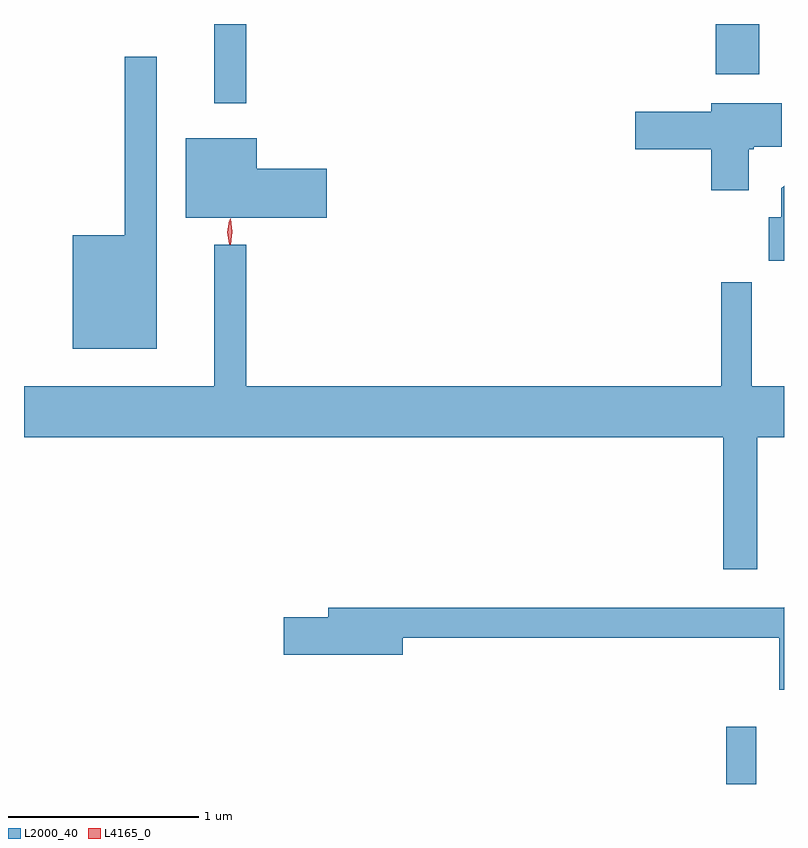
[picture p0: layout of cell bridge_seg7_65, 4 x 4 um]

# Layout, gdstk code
import gdstk
lib = gdstk.Library(unit=1e-6, precision=1e-09)
def R(c, l, rs):  # rectangles x0, y0, x1, y1
    for r in rs: c.add(gdstk.rectangle(r[:2], r[2:], *l))
def P(c, l, *ps):  # polygons
    for p in ps: c.add(gdstk.Polygon(p, *l))
L2000_40 = (2000, 40)
L4165_0 = (4165, 0)

bridge_seg7_65 = lib.new_cell('bridge_seg7_65')
R(bridge_seg7_65, L2000_40, [(1562.916,1756.891,1563.074,1757.193), (1560.221,1760.473,1560.389,1760.891), (1562.861,1760.626,1563.089,1760.891)])
P(bridge_seg7_65, L2000_40, [(1559.919,1760.718),(1559.751,1760.718),(1559.751,1759.779),(1559.476,1759.779),(1559.476,1759.181),(1559.919,1759.181)],
  [(1563.034,1760.231),(1563.06,1760.231),(1563.06,1760.246),(1563.209,1760.246),(1563.209,1760.474),(1562.836,1760.474),(1562.836,1760.429),(1562.436,1760.429),(1562.436,1760.231),(1562.836,1760.231),(1562.836,1760.016),(1563.034,1760.016)],
  [(1560.814,1760.129),(1560.444,1760.129),(1560.444,1760.289),(1560.071,1760.289),(1560.071,1759.871),(1560.814,1759.871)],
  [(1563.22,1760.041),(1563.206,1760.027),(1563.206,1759.874),(1563.141,1759.874),(1563.141,1759.646),(1563.22,1759.646)],
  [(1563.079,1758.716),(1563.22,1758.716),(1563.22,1758.984),(1563.049,1758.984),(1563.049,1759.533),(1562.891,1759.533),(1562.891,1758.984),(1560.389,1758.984),(1560.389,1759.728),(1560.221,1759.728),(1560.221,1758.984),(1559.22,1758.984),(1559.22,1758.716),(1562.901,1758.716),(1562.901,1758.021),(1563.079,1758.021)],
  [(1563.22,1757.82),(1563.219,1757.819),(1560.821,1757.819),(1560.821,1757.769),(1560.586,1757.769),(1560.586,1757.571),(1561.214,1757.571),(1561.214,1757.661),(1563.196,1757.661),(1563.196,1757.386),(1563.22,1757.386)])
P(bridge_seg7_65, L4165_0, [(1560.301,1759.733),(1560.301,1759.733),(1560.291,1759.796),(1560.3,1759.859),(1560.301,1759.86),(1560.301,1759.859),(1560.311,1759.796),(1560.302,1759.733)],
  [(1560.306,1759.73),(1560.297,1759.798),(1560.306,1759.866),(1560.307,1759.866),(1560.307,1759.866),(1560.317,1759.798),(1560.307,1759.73),(1560.307,1759.73)])

lib.write_gds('bridge_seg7_65.gds')
